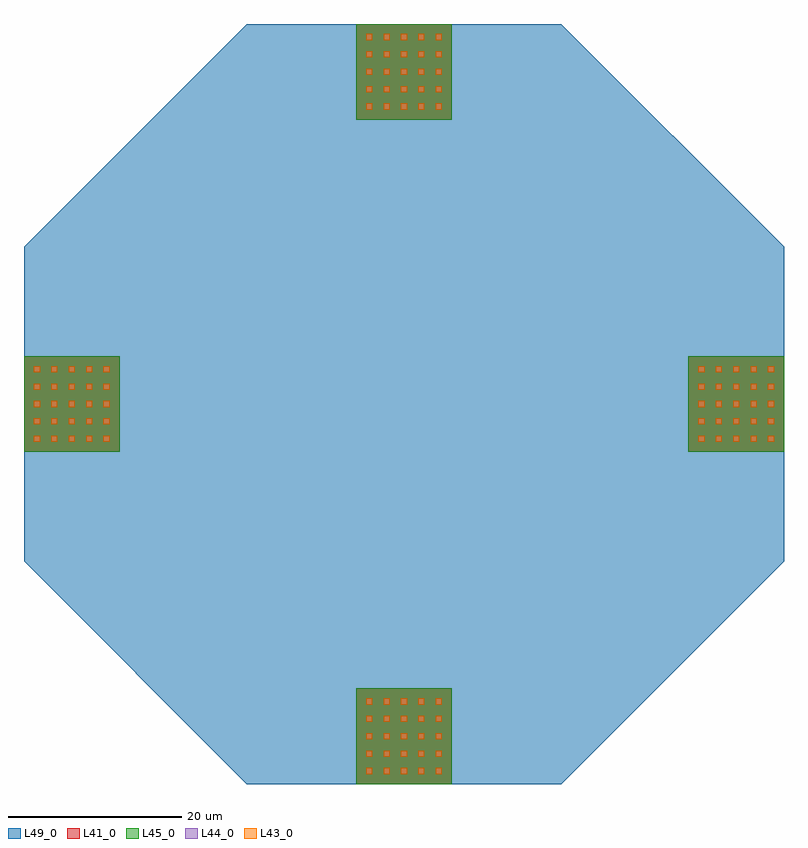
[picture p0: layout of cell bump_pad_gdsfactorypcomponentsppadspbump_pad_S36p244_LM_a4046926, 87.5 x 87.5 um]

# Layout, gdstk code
import gdstk
lib = gdstk.Library(unit=1e-6, precision=1e-09)
def R(c, l, rs):  # rectangles x0, y0, x1, y1
    for r in rs: c.add(gdstk.rectangle(r[:2], r[2:], *l))
def P(c, l, *ps):  # polygons
    for p in ps: c.add(gdstk.Polygon(p, *l))
L41_0 = (41, 0)
L43_0 = (43, 0)
L44_0 = (44, 0)
L45_0 = (45, 0)
L49_0 = (49, 0)

regular_polygon_gdsfacto = lib.new_cell('regular_polygon_gdsfactorypcomponentspshapespregular_po_f7d137c5')
P(regular_polygon_gdsfacto, L49_0, [(-18.122,-43.75),(-43.75,-18.122),(-43.75,18.122),(-18.122,43.75),(18.122,43.75),(43.75,18.122),(43.75,-18.122),(18.122,-43.75)])

compass_gdsfactorypcompo = lib.new_cell('compass_gdsfactorypcomponentspshapespcompass_S11_11_LM1_4b943683')
R(compass_gdsfactorypcompo, L41_0, [(-5.5,-5.5,5.5,5.5)])

c_compass_gdsfactorypcompo = lib.new_cell('compass_gdsfactorypcomponentspshapespcompass_S11_11_LM2_786eb8ce')
R(c_compass_gdsfactorypcompo, L45_0, [(-5.5,-5.5,5.5,5.5)])

c_compass_gdsfactorypcompo_ = lib.new_cell('compass_gdsfactorypcomponentspshapespcompass_S11_11_LM3_4637d102')
R(c_compass_gdsfactorypcompo_, L49_0, [(-5.5,-5.5,5.5,5.5)])

via_gdsfactorypcomponent = lib.new_cell('via_gdsfactorypcomponentspviaspvia_S0p7_0p7_E1_LVIA1_BL_0068d91e')
R(via_gdsfactorypcomponent, L44_0, [(-0.35,-0.35,0.35,0.35)])

c_via_gdsfactorypcomponent = lib.new_cell('via_gdsfactorypcomponentspviaspvia_S0p7_0p7_E1_LVIA2_BL_c51b5ebb')
R(c_via_gdsfactorypcomponent, L43_0, [(-0.35,-0.35,0.35,0.35)])

via_stack_gdsfactorypcom = lib.new_cell('via_stack_gdsfactorypcomponentspviaspvia_stack_S11_11_L_11859c3a')
via_stack_gdsfactorypcom.add(gdstk.Reference(compass_gdsfactorypcompo, (0,0)))
via_stack_gdsfactorypcom.add(gdstk.Reference(c_compass_gdsfactorypcompo, (0,0)))
via_stack_gdsfactorypcom.add(gdstk.Reference(c_compass_gdsfactorypcompo_, (0,0)))
r = gdstk.Reference(via_gdsfactorypcomponent, (-4,-4)); r.repetition = gdstk.Repetition(5, 5, v1=(2,0), v2=(0,2)); via_stack_gdsfactorypcom.add(r)
r = gdstk.Reference(c_via_gdsfactorypcomponent, (-4,-4)); r.repetition = gdstk.Repetition(5, 5, v1=(2,0), v2=(0,2)); via_stack_gdsfactorypcom.add(r)

bump_pad_gdsfactorypcomp = lib.new_cell('bump_pad_gdsfactorypcomponentsppadspbump_pad_S36p244_LM_a4046926')
bump_pad_gdsfactorypcomp.add(gdstk.Reference(regular_polygon_gdsfacto, (0,0)))
bump_pad_gdsfactorypcomp.add(gdstk.Reference(via_stack_gdsfactorypcom, (0,38.25)))
bump_pad_gdsfactorypcomp.add(gdstk.Reference(via_stack_gdsfactorypcom, (38.25,0)))
bump_pad_gdsfactorypcomp.add(gdstk.Reference(via_stack_gdsfactorypcom, (0,-38.25)))
bump_pad_gdsfactorypcomp.add(gdstk.Reference(via_stack_gdsfactorypcom, (-38.25,0)))

lib.write_gds('bump_pad_gdsfactorypcomponentsppadspbump_pad_S36p244_LM_a4046926.gds')
